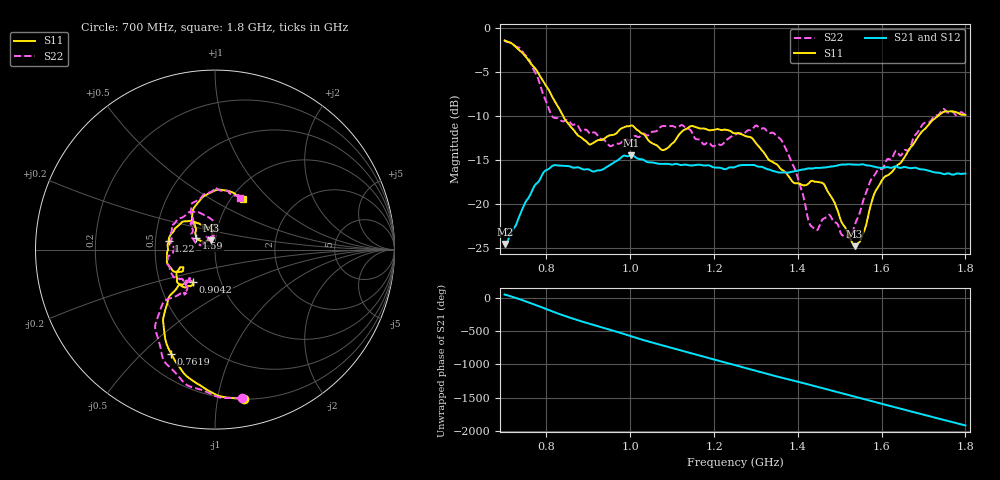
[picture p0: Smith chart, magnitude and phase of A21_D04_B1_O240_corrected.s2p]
! Created with skrf 1.9.0 (http://scikit-rf.org).
# Hz S RI R 50.0
!freq ReS11 ImS11 ReS21 ImS21 ReS12 ImS12 ReS22 ImS22
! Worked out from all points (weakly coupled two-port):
!   1601 points, 700 MHz to 1.8 GHz, reference 50 ohm
!   highest |S21| = -14.48 dB at 1.002 GHz (marker M1); lowest = -24.5 dB at 700.7 MHz (marker M2)
!   lowest |S11| = -24.8 dB at 1.535 GHz (marker M3), VSWR 1.12, Z = 47.4 + j4.99 ohm
!   |S11| at or under -10 dB: 839.3 MHz to 1.735 GHz (895.6 MHz wide, 69.6 % of centre)
!   |S22| runs from -23.9 to -1.5 dB; largest |S21 - S12| = 0.0034
!   S11 on the Smith chart (normalised r, x): 700 MHz: 0.20, -1.19; 761.9 MHz: 0.32, -0.62; 904.2 MHz: 0.73, -0.27; 1.22 GHz: 0.59, +0.06; 1.59 GHz: 0.80, +0.11; 1.8 GHz: 1.13, +0.71
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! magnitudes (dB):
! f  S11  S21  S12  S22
! 700 MHz  -1.4  -24.5  -24.3  -1.5
! 700.7 MHz  -1.5  -24.5  -24.2  -1.5
! 761.9 MHz  -4.0  -18.9  -18.8  -3.9
! 814.1 MHz  -7.9  -15.7  -15.7  -10.1
! 883.6 MHz  -12.5  -16.0  -15.9  -11.8
! 904.2 MHz  -13.3  -16.2  -16.1  -12.0
! 1.002 GHz  -11.1  -14.5  -14.6  -12.7
! 1.067 GHz  -13.5  -15.4  -15.4  -11.5
! 1.145 GHz  -11.2  -15.6  -15.6  -11.7
! 1.22 GHz  -11.6  -16.0  -16.0  -13.2
! 1.25 GHz  -12.0  -15.8  -15.7  -12.1
! 1.302 GHz  -13.2  -15.7  -15.6  -11.1
! 1.359 GHz  -16.0  -16.4  -16.4  -12.6
! 1.395 GHz  -17.7  -16.3  -16.3  -16.3
! 1.434 GHz  -17.4  -16.0  -15.9  -22.6
! 1.464 GHz  -17.9  -15.9  -15.8  -21.6
! 1.522 GHz  -23.6  -15.5  -15.5  -23.9
! 1.535 GHz  -24.8  -15.5  -15.5  -22.5
! 1.59 GHz  -18.2  -15.8  -15.8  -16.2
! 1.617 GHz  -16.7  -15.9  -15.8  -14.9
! 1.739 GHz  -9.9  -16.5  -16.5  -9.7
! 1.8 GHz  -9.9  -16.6  -16.5  -9.9
